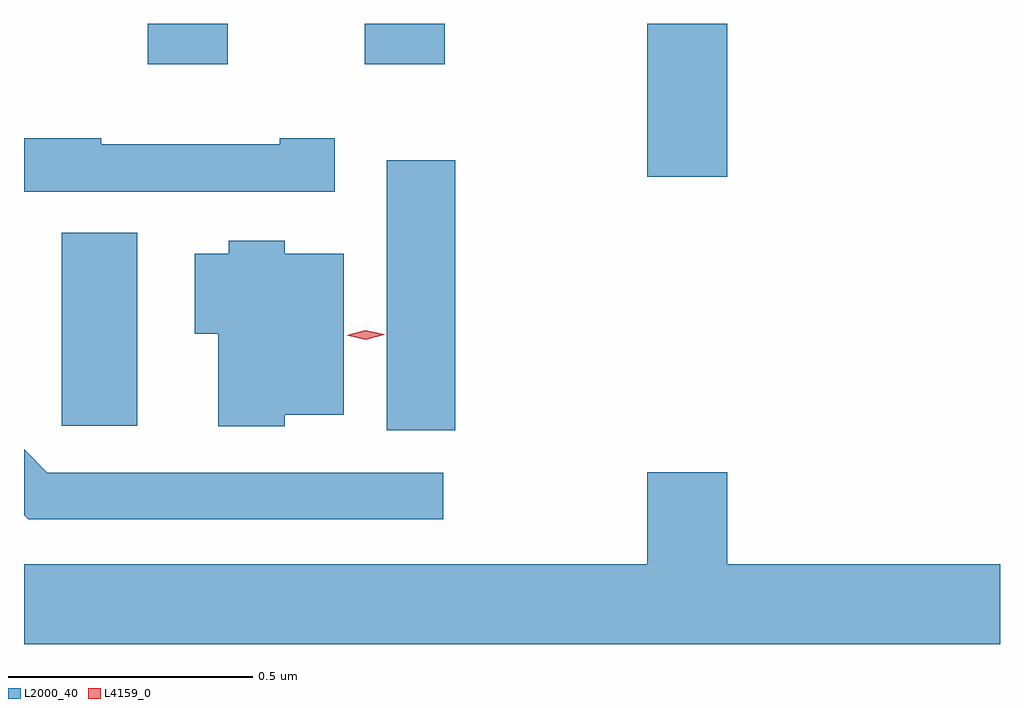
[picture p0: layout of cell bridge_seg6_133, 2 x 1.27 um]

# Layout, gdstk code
import gdstk
lib = gdstk.Library(unit=1e-6, precision=1e-09)
def R(c, l, rs):  # rectangles x0, y0, x1, y1
    for r in rs: c.add(gdstk.rectangle(r[:2], r[2:], *l))
def P(c, l, *ps):  # polygons
    for p in ps: c.add(gdstk.Polygon(p, *l))
L2000_40 = (2000, 40)
L4159_0 = (4159, 0)

bridge_seg6_133 = lib.new_cell('bridge_seg6_133')
R(bridge_seg6_133, L2000_40, [(440.198,929.127,440.339,929.68), (439.532,929.136,439.687,929.531), (440.732,929.646,440.896,929.96), (439.709,929.877,439.873,929.96), (440.153,929.877,440.317,929.96)])
P(bridge_seg6_133, L2000_40, [(440.092,929.725),(439.979,929.725),(439.979,929.713),(439.613,929.713),(439.613,929.725),(439.455,929.725),(439.455,929.616),(440.092,929.616)],
  [(439.989,929.159),(440.11,929.159),(440.11,929.488),(439.989,929.488),(439.989,929.515),(439.875,929.515),(439.875,929.488),(439.805,929.488),(439.805,929.324),(439.853,929.324),(439.853,929.135),(439.989,929.135)],
  [(440.314,929.04),(439.503,929.04),(439.455,929.088),(439.455,928.953),(439.464,928.944),(440.314,928.944)],
  [(441.455,928.852),(440.896,928.852),(440.896,929.041),(440.732,929.041),(440.732,928.852),(439.455,928.852),(439.455,928.688),(441.455,928.688)])
P(bridge_seg6_133, L4159_0, [(440.155,929.312),(440.116,929.321),(440.116,929.321),(440.116,929.321),(440.154,929.332),(440.193,929.323),(440.193,929.322),(440.193,929.322)])

lib.write_gds('bridge_seg6_133.gds')
